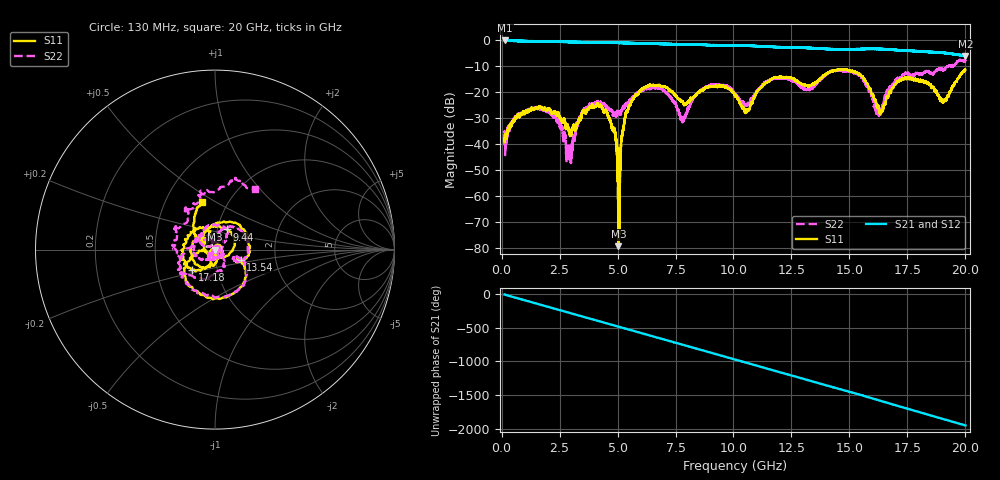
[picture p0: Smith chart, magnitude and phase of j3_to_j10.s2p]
!Created with skrf (http://scikit-rf.org).
# GHz S RI R 50.0
!freq ReS11 ImS11 ReS21 ImS21 ReS12 ImS12 ReS22 ImS22
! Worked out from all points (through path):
!   20013 points, 130 MHz to 20 GHz, reference 50 ohm
!   highest |S21| = -0.04 dB at 160 MHz (marker M1); lowest = -6.0 dB at 20 GHz (marker M2)
!   group delay of S21, straight-line fit = 270 ps
!   lowest |S11| = -79.4 dB at 5.034 GHz (marker M3), VSWR 1.00, Z = 50 - j0.00565 ohm
!   |S11| at or under -10 dB: start of sweep to end of sweep
!   |S22| runs from -47.4 to -7.5 dB; largest |S21 - S12| = 0.076
!   S11 on the Smith chart (normalised r, x): 130 MHz: 1.02, +0.01; 9.44 GHz: 1.12, +0.26; 13.54 GHz: 1.32, -0.16; 17.18 GHz: 0.75, -0.18; 20 GHz: 0.76, +0.44
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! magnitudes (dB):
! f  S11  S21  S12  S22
! 130 MHz  -37.7  -0.1  -0.3  -40.5
! 160 MHz  -37.6  0.0  -0.2  -37.4
! 1.578 GHz  -26.2  -0.4  -0.4  -25.9
! 2.899 GHz  -34.5  -0.6  -0.5  -41.1
! 3.442 GHz  -29.6  -0.7  -0.6  -28.5
! 4.545 GHz  -27.8  -0.8  -0.8  -26.1
! 4.878 GHz  -34.7  -0.9  -0.9  -28.1
! 5.034 GHz  -79.4  -1.0  -0.9  -27.6
! 5.44 GHz  -27.2  -1.1  -1.1  -24.6
! 6.754 GHz  -17.4  -1.3  -1.3  -18.5
! 7.812 GHz  -23.9  -1.6  -1.6  -30.3
! 9.44 GHz  -17.6  -1.9  -1.9  -17.2
! 10.06 GHz  -21.4  -2.0  -1.9  -20.9
! 13.38 GHz  -17.1  -3.0  -2.9  -18.4
! 13.54 GHz  -16.2  -3.0  -3.1  -17.0
! 15.28 GHz  -12.4  -3.4  -3.3  -12.9
! 16.29 GHz  -27.3  -3.3  -3.3  -28.0
! 16.69 GHz  -20.8  -3.4  -3.5  -19.6
! 17.18 GHz  -15.3  -3.9  -3.9  -14.4
! 19.07 GHz  -23.5  -4.9  -4.7  -11.2
! 20 GHz  -11.2  -6.0  -5.8  -7.8
! 20 GHz  -11.2  -6.0  -5.8  -7.7
